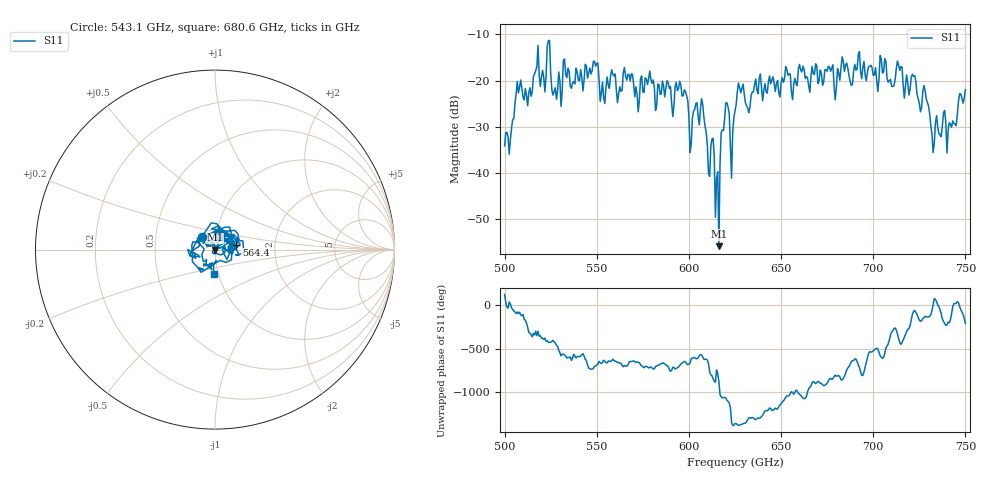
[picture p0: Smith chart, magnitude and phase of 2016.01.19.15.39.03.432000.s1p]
!Created with skrf (http://scikit-rf.org).
# GHz S RI R 50.0
!freq ReS11 ImS11
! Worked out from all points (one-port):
!   401 points, 500 GHz to 750 GHz, reference 50 ohm
!   lowest |S11| = -55.8 dB at 616.2 GHz (marker M1), VSWR 1.00, Z = 49.9 - j0.0713 ohm
!   |S11| at or under -10 dB: start of sweep to end of sweep
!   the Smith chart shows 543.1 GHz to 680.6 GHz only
!   S11 on the Smith chart (normalised r, x): 543.1 GHz: 0.86, +0.13; 564.4 GHz: 1.27, +0.07; 680.6 GHz: 0.95, -0.26
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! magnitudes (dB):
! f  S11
! 500 GHz  -34.1
! 503.8 GHz  -30.4
! 507.5 GHz  -22.7
! 513.8 GHz  -21.5
! 516.9 GHz  -17.8
! 531.2 GHz  -22.2
! 543.1 GHz  -19.8
! 562.5 GHz  -21.3
! 564.4 GHz  -18.3
! 593.8 GHz  -22.1
! 601.2 GHz  -33.7
! 607.5 GHz  -25.2
! 615 GHz  -41.1
! 616.2 GHz  -55.8
! 619.4 GHz  -28.2
! 623.8 GHz  -31.2
! 625 GHz  -26.6
! 628.1 GHz  -22.6
! 631.9 GHz  -25.8
! 637.5 GHz  -22.8
! 656.2 GHz  -24.1
! 680.6 GHz  -17.4
! 687.5 GHz  -20.2
! 705 GHz  -18.3
! 718.8 GHz  -20.6
! 728.1 GHz  -22.1
! 732.5 GHz  -35.6
! 750 GHz  -22.0
